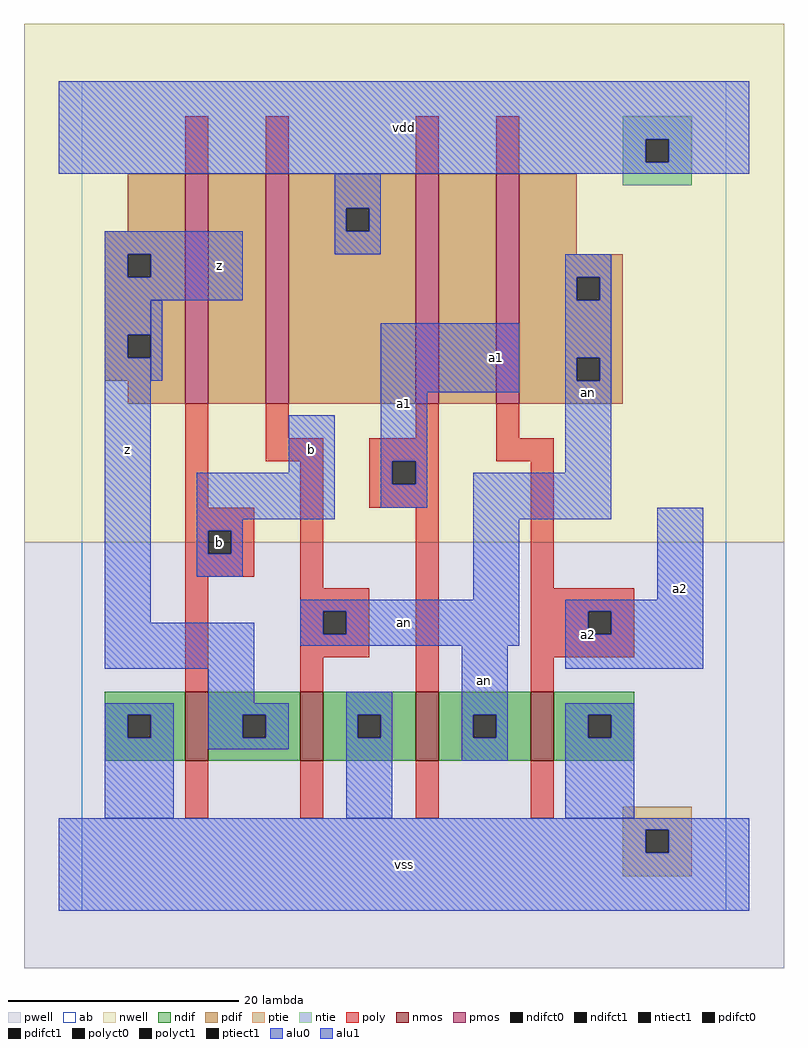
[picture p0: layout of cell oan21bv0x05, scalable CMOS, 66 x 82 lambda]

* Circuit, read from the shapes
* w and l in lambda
.subckt oan21bv0x05 a1 a2 an b vdd vss z
M1 z b vss vss nfet w=6 l=2
M2 vss an z vss nfet w=6 l=2
M3 an a1 vss vss nfet w=6 l=2
M4 vss a2 an vss nfet w=6 l=2
M5 n1 b z vdd pfet w=20 l=2
M6 vdd an n1 vdd pfet w=20 l=2
M7 n2 a1 vdd vdd pfet w=20 l=2
M8 an a2 n2 vdd pfet w=20 l=2
.ends

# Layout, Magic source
magic
tech scmos
<< ab >>
rect 0 0 56 72
<< nwell >>
rect -5 32 61 77
<< pwell >>
rect -5 -5 61 32
<< poly >>
rect 9 64 11 69
rect 16 64 18 69
rect 29 64 31 69
rect 36 64 38 69
rect 9 35 11 44
rect 16 41 18 44
rect 29 41 31 44
rect 16 39 21 41
rect 9 33 15 35
rect 9 31 11 33
rect 13 31 15 33
rect 9 29 15 31
rect 9 19 11 29
rect 19 28 21 39
rect 25 39 31 41
rect 36 41 38 44
rect 36 39 41 41
rect 25 37 27 39
rect 29 37 31 39
rect 25 35 31 37
rect 19 26 25 28
rect 19 24 21 26
rect 23 24 25 26
rect 19 22 25 24
rect 19 19 21 22
rect 29 19 31 35
rect 39 28 41 39
rect 39 26 48 28
rect 39 24 44 26
rect 46 24 48 26
rect 39 22 48 24
rect 39 19 41 22
rect 9 8 11 13
rect 19 8 21 13
rect 29 8 31 13
rect 39 8 41 13
<< ndif >>
rect 2 17 9 19
rect 2 15 4 17
rect 6 15 9 17
rect 2 13 9 15
rect 11 17 19 19
rect 11 15 14 17
rect 16 15 19 17
rect 11 13 19 15
rect 21 17 29 19
rect 21 15 24 17
rect 26 15 29 17
rect 21 13 29 15
rect 31 17 39 19
rect 31 15 34 17
rect 36 15 39 17
rect 31 13 39 15
rect 41 17 48 19
rect 41 15 44 17
rect 46 15 48 17
rect 41 13 48 15
<< pdif >>
rect 4 59 9 64
rect 2 57 9 59
rect 2 55 4 57
rect 6 55 9 57
rect 2 50 9 55
rect 2 48 4 50
rect 6 48 9 50
rect 2 46 9 48
rect 4 44 9 46
rect 11 44 16 64
rect 18 61 29 64
rect 18 59 23 61
rect 25 59 29 61
rect 18 44 29 59
rect 31 44 36 64
rect 38 57 43 64
rect 38 55 47 57
rect 38 53 43 55
rect 45 53 47 55
rect 38 48 47 53
rect 38 46 43 48
rect 45 46 47 48
rect 38 44 47 46
<< alu1 >>
rect -2 67 58 72
rect -2 65 49 67
rect 51 65 58 67
rect -2 64 58 65
rect 2 57 14 59
rect 2 55 4 57
rect 6 55 14 57
rect 2 53 14 55
rect 2 50 6 53
rect 2 48 4 50
rect 2 25 6 48
rect 26 45 38 51
rect 18 38 22 43
rect 10 34 22 38
rect 26 39 30 45
rect 26 37 27 39
rect 29 37 30 39
rect 26 35 30 37
rect 10 33 14 34
rect 10 31 11 33
rect 13 31 14 33
rect 10 29 14 31
rect 50 27 54 35
rect 2 21 15 25
rect 42 26 54 27
rect 42 24 44 26
rect 46 24 54 26
rect 11 18 15 21
rect 11 17 18 18
rect 11 15 14 17
rect 16 15 18 17
rect 11 14 18 15
rect 42 21 54 24
rect -2 7 58 8
rect -2 5 49 7
rect 51 5 58 7
rect -2 0 58 5
<< ptie >>
rect 47 7 53 9
rect 47 5 49 7
rect 51 5 53 7
rect 47 3 53 5
<< ntie >>
rect 47 67 53 69
rect 47 65 49 67
rect 51 65 53 67
rect 47 63 53 65
<< nmos >>
rect 9 13 11 19
rect 19 13 21 19
rect 29 13 31 19
rect 39 13 41 19
<< pmos >>
rect 9 44 11 64
rect 16 44 18 64
rect 29 44 31 64
rect 36 44 38 64
<< polyct0 >>
rect 21 24 23 26
<< polyct1 >>
rect 11 31 13 33
rect 27 37 29 39
rect 44 24 46 26
<< ndifct0 >>
rect 4 15 6 17
rect 24 15 26 17
rect 34 15 36 17
rect 44 15 46 17
<< ndifct1 >>
rect 14 15 16 17
<< ntiect1 >>
rect 49 65 51 67
<< ptiect1 >>
rect 49 5 51 7
<< pdifct0 >>
rect 23 59 25 61
rect 43 53 45 55
rect 43 46 45 48
<< pdifct1 >>
rect 4 55 6 57
rect 4 48 6 50
<< alu0 >>
rect 22 61 26 64
rect 22 59 23 61
rect 25 59 26 61
rect 22 57 26 59
rect 42 55 46 57
rect 42 53 43 55
rect 45 53 46 55
rect 6 46 7 53
rect 42 48 46 53
rect 42 46 43 48
rect 45 46 46 48
rect 42 38 46 46
rect 34 34 46 38
rect 34 27 38 34
rect 19 26 38 27
rect 19 24 21 26
rect 23 24 38 26
rect 19 23 38 24
rect 2 17 8 18
rect 2 15 4 17
rect 6 15 8 17
rect 2 8 8 15
rect 23 17 27 19
rect 23 15 24 17
rect 26 15 27 17
rect 23 8 27 15
rect 33 17 37 23
rect 33 15 34 17
rect 36 15 37 17
rect 33 13 37 15
rect 42 17 48 18
rect 42 15 44 17
rect 46 15 48 17
rect 42 8 48 15
<< labels >>
rlabel alu0 35 20 35 20 6 an
rlabel alu0 28 25 28 25 6 an
rlabel alu0 44 45 44 45 6 an
rlabel alu1 4 40 4 40 6 z
rlabel polyct1 12 32 12 32 6 b
rlabel alu1 20 40 20 40 6 b
rlabel alu1 12 56 12 56 6 z
rlabel alu1 28 4 28 4 6 vss
rlabel alu1 28 44 28 44 6 a1
rlabel alu1 36 48 36 48 6 a1
rlabel alu1 28 68 28 68 6 vdd
rlabel alu1 44 24 44 24 6 a2
rlabel alu1 52 28 52 28 6 a2
<< end >>
